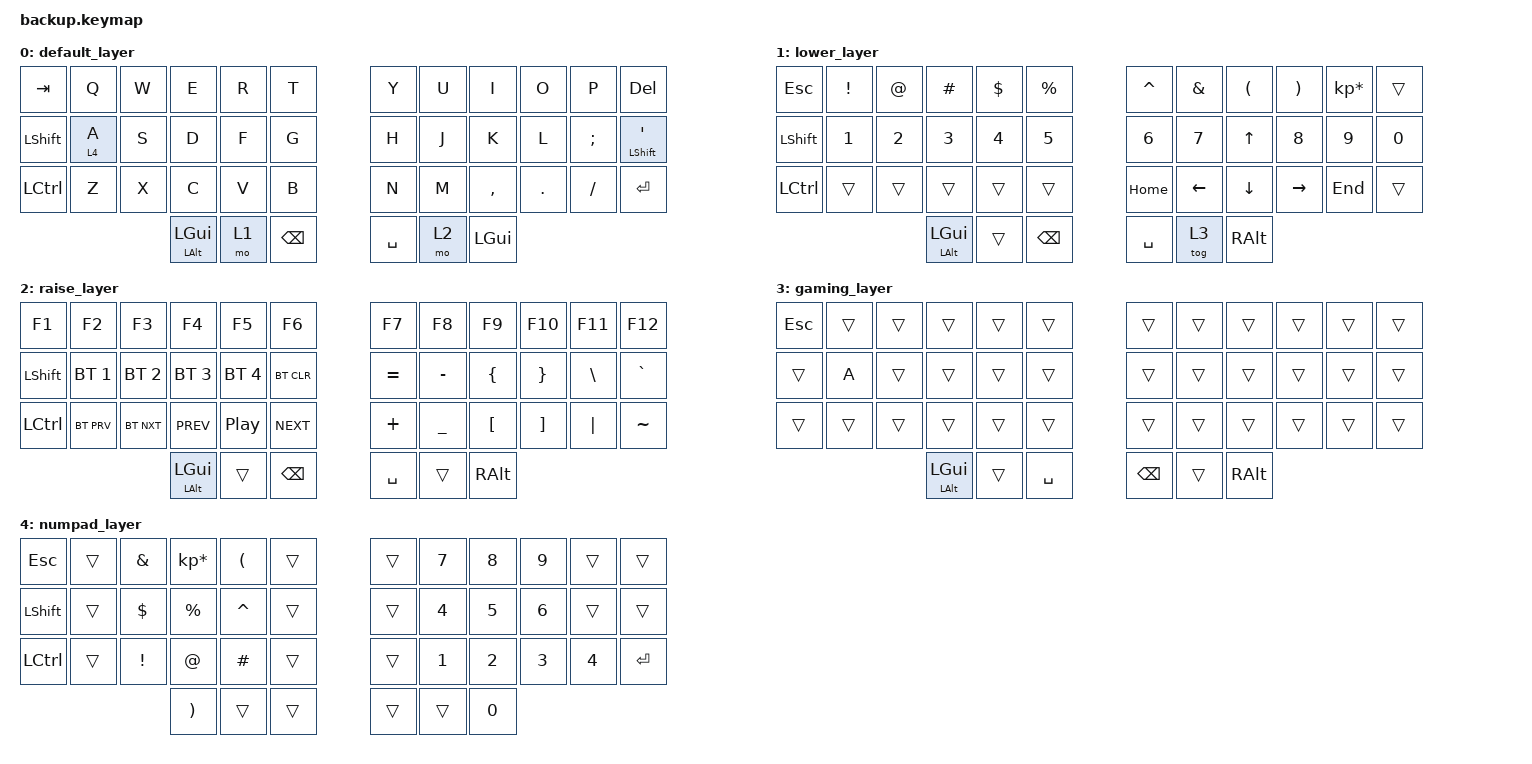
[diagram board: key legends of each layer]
/*
 * Copyright (c) 2020 The ZMK Contributors
 *
 * SPDX-License-Identifier: MIT
 */

#include <behaviors.dtsi>
#include <dt-bindings/zmk/keys.h>
#include <dt-bindings/zmk/bt.h>

&lt {
    tapping-term-ms = <250>;
};

        bindings = <
        &kp TAB &kp Q &kp W &kp E &kp R &kp T     &kp Y &kp U  &kp I &kp O &kp P &kp BSPC
        &kp LSHFT &kp A &kp S &kp D &kp F &kp G     &kp H &kp J &kp K &kp L &kp SEMI &kp SQT
        &kp CTRL &kp Z &kp X &kp C &kp V &kp B     &kp N &kp M  &kp COMMA &kp DOT &kp FSLH &mt RSHFT RET
                  &mt LALT ESC &kp LGUI &lt 1 BSPC   &lt 2 SPACE &mo 3 &kp LALT
                        >;

/ {
        keymap {
                compatible = "zmk,keymap";

                default_layer {
// -----------------------------------------------------------------------------------------
// |  TAB |  Q  |  W  |  E  |  R  |  T  |   |  Y  |  U   |  I  |  O  |  P  | DEL  |
// | SHIFT|  A  |  S  |  D  |  F  |  G  |   |  H  |  J   |  K  |  L  |  ;  |  '   |
// | CTRL |  Z  |  X  |  C  |  V  |  B  |   |  N  |  M   |  ,  |  .  |  /  | RET  |
//                    | GUI | LWR | BSPC|   | SPC | RSE  | GUI |
                        bindings = <
        &kp TAB   &kp Q &kp W &kp E &kp R &kp T   &kp Y &kp U  &kp I     &kp O   &kp P    &kp DEL
        &kp LSHFT &lt 4 A &kp S &kp D &kp F &kp G   &kp H &kp J  &kp K     &kp L   &kp SEMI &mt LSHFT SQT
        &kp LCTRL &kp Z &kp X &kp C &kp V &kp B   &kp N &kp M  &kp COMMA &kp DOT &kp FSLH &kp RET
                  &mt LALT LGUI &mo 1 &kp BSPC   &kp SPACE &mo 2 &kp LGUI
                        >;
                };
                lower_layer {
// -----------------------------------------------------------------------------------------
// |  ESC   |  !  |  @  |  #  |  $  |  %  |   |  ^  |  &  |  (  |  )  |  *  |     |
// | SHIFT  |  1  |  2  |  3  |  4  |  5  |   |  6  |  7  |  UP |  8  |  9  |  0  |
// | CTRL   |     |     |     |     |     |   | HOME| LFT | DWN | RGT | END |     |
//                      | GUI |     | BSPC|   | SPC |     | ALT |
                        bindings = <
        &kp ESC   &kp EXCL &kp AT &kp HASH &kp DLLR &kp PRCNT   &kp CARET &kp AMPS  &kp LPAR  &kp RPAR &kp KP_MULTIPLY &trans
        &kp LSHFT    &kp N1       &kp N2       &kp N3       &kp N4       &kp N5         &kp N6   &kp N7 &kp UP  &kp N8 &kp N9    &kp N0
        &kp LCTRL  &trans       &trans       &trans       &trans       &trans         &kp HOME   &kp LEFT   &kp DOWN &kp RIGHT    &kp END &trans
                                    &mt LALT LGUI     &trans       &kp BSPC      &kp SPACE  &tog 3   &kp RALT
                        >;
                };

                raise_layer {
// -----------------------------------------------------------------------------------------
// |  F1  | F2  | F3  | F4  | F5  |  F6  |   | F7  | F8  | F9  | F10 | F11 | F12  |
// | SHIFT| BT1 | BT2 | BT3 | BT4 | BTCLR|   |  =  |  -  |  {  |  }  |  \  |  `   |
// | CTRL |BTPRV|BTNXT| <<  | ||> | >>   |   |  +  |  _  |  [  |  ]  | "|" |  ~   |
//                    | GUI |     | BSPC |   | SPC |     | RALT |
                        bindings = <
        &kp F1 &kp F2 &kp F3 &kp F4 &kp F5 &kp F6 &kp F7 &kp F8 &kp F9 &kp F10 &kp F11 &kp F12
        &kp LSHFT &bt BT_SEL 1  &bt BT_SEL 2 &bt BT_SEL 3   &bt BT_SEL 4   &bt BT_CLR   &kp EQUAL &kp MINUS &kp LBRC  &kp RBRC &kp BSLH &kp GRAVE
        &kp LCTRL &bt BT_PRV   &bt BT_NXT &kp C_PREV   &kp C_PP   &kp C_NEXT      &kp PLUS &kp UNDER  &kp LBKT        &kp RBKT &kp PIPE &kp TILDE
                             &mt LALT LGUI &trans   &kp BSPC   &kp SPACE   &trans    &kp RALT
                        >;
                };

                gaming_layer {
// -----------------------------------------------------------------------------------------
// |  ESC |  Q  |  W  |  E  |  R  |  T  |   |  Y  |  U   |  I  |  O  |  P  | DEL  |
// | SHIFT|  A  |  S  |  D  |  F  |  G  |   |  H  |  J   |  K  |  L  |  ;  |  '   |
// | CTRL |  Z  |  X  |  C  |  V  |  B  |   |  N  |  M   |  ,  |  .  |  /  | RET  |
//                    | GUI | LWR | BSPC|   | SPC | RSE  | ALT |
                        bindings = <
        &kp ESC &trans &trans &trans &trans &trans &trans &trans &trans &trans &trans &trans 
        &trans &kp A &trans &trans &trans &trans &trans &trans &trans &trans &trans &trans 
        &trans &trans &trans &trans &trans &trans &trans &trans &trans &trans &trans &trans 
                             &mt LALT LGUI &trans   &kp SPACE   &kp BSPC   &trans    &kp RALT
                        >;
                };

                numpad_layer {
// -----------------------------------------------------------------------------------------
// | ESC  |     |  &  |  *  |  (  |     |   |     |  7   |  8  |  9  |  /  |      |
// | SHIFT|     |  $  |  %  |  ^  |     |   |  -  |  4   |  5  |  6  |  +  |      |
// | CTRL |     |  !  |  @  |  #  |     |   |     |  1   |  2  |  3  |  *  | ENT  |
//                    | )   | LWR | BSPC|   | SPC | RSE  |  0  |
                        bindings = <
        &kp ESC &trans &kp AMPS &kp KP_MULTIPLY &kp LPAR &trans &trans &kp N7 &kp N8 &kp N9 &trans &trans 
        &kp LSHFT &trans &kp DLLR &kp PRCNT &kp CARET &trans &trans &kp N4 &kp N5 &kp N6 &trans &trans 
        &kp LCTRL &trans &kp EXCL &kp AT &kp HASH &trans &trans &kp N1 &kp N2 &kp N3 &kp N4 &kp RET 
                             &kp RPAR &trans   &trans   &trans   &trans    &kp N0
                        >;
                };
        };
};


